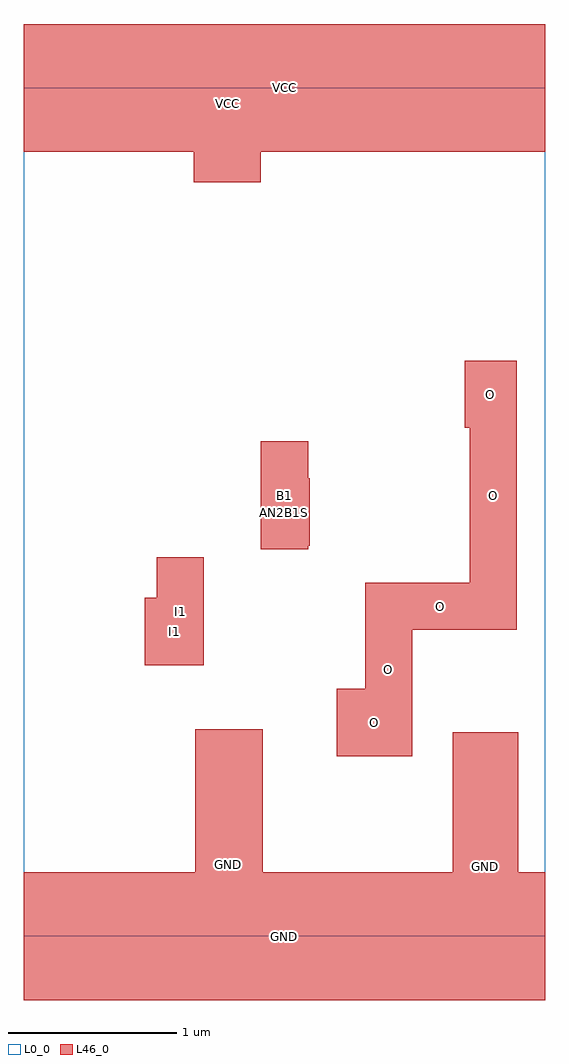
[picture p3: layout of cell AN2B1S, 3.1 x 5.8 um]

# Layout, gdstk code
import gdstk
lib = gdstk.Library(unit=1e-6, precision=1e-09)
def R(c, l, rs):  # rectangles x0, y0, x1, y1
    for r in rs: c.add(gdstk.rectangle(r[:2], r[2:], *l))
L0_0 = (0, 0)
L46_0 = (46, 0)

an2b1s = lib.new_cell('AN2B1S')
R(an2b1s, L0_0, [(0,0,3.1,5.04)])
R(an2b1s, L46_0, [(0,-0.38,3.1,0.38), (1.02,-0.38,1.42,1.23), (2.55,-0.38,2.94,1.21), (1.86,1.07,2.31,1.47), (2.03,1.07,2.31,2.1), (0.72,1.61,1.07,2.01), (0.79,1.61,1.07,2.25), (2.03,1.82,2.93,2.1), (2.65,1.82,2.93,3.42), (1.41,2.3,1.69,2.94), (1.41,2.32,1.7,2.72), (2.62,3.02,2.93,3.42), (1.01,4.48,1.41,5.42), (0,4.66,3.1,5.42)])
an2b1s.add(gdstk.Label('AN2B1S', (1.55,2.52), layer=0, texttype=0))
an2b1s.add(gdstk.Label('O', (2.17,1.585), layer=101, texttype=0))
an2b1s.add(gdstk.Label('O', (2.48,1.96), layer=101, texttype=0))
an2b1s.add(gdstk.Label('O', (2.79,2.62), layer=101, texttype=0))
an2b1s.add(gdstk.Label('O', (2.775,3.22), layer=101, texttype=0))
an2b1s.add(gdstk.Label('O', (2.085,1.27), layer=101, texttype=0))
an2b1s.add(gdstk.Label('I1', (0.93,1.93), layer=101, texttype=0))
an2b1s.add(gdstk.Label('I1', (0.895,1.81), layer=101, texttype=0))
an2b1s.add(gdstk.Label('B1', (1.555,2.52), layer=101, texttype=0))
an2b1s.add(gdstk.Label('B1', (1.55,2.62), layer=101, texttype=0))
an2b1s.add(gdstk.Label('GND', (2.745,0.415), layer=101, texttype=0))
an2b1s.add(gdstk.Label('GND', (1.55,0), layer=101, texttype=0))
an2b1s.add(gdstk.Label('GND', (1.22,0.425), layer=101, texttype=0))
an2b1s.add(gdstk.Label('VCC', (1.55,5.04), layer=101, texttype=0))
an2b1s.add(gdstk.Label('VCC', (1.21,4.95), layer=101, texttype=0))

lib.write_gds('AN2B1S.gds')
